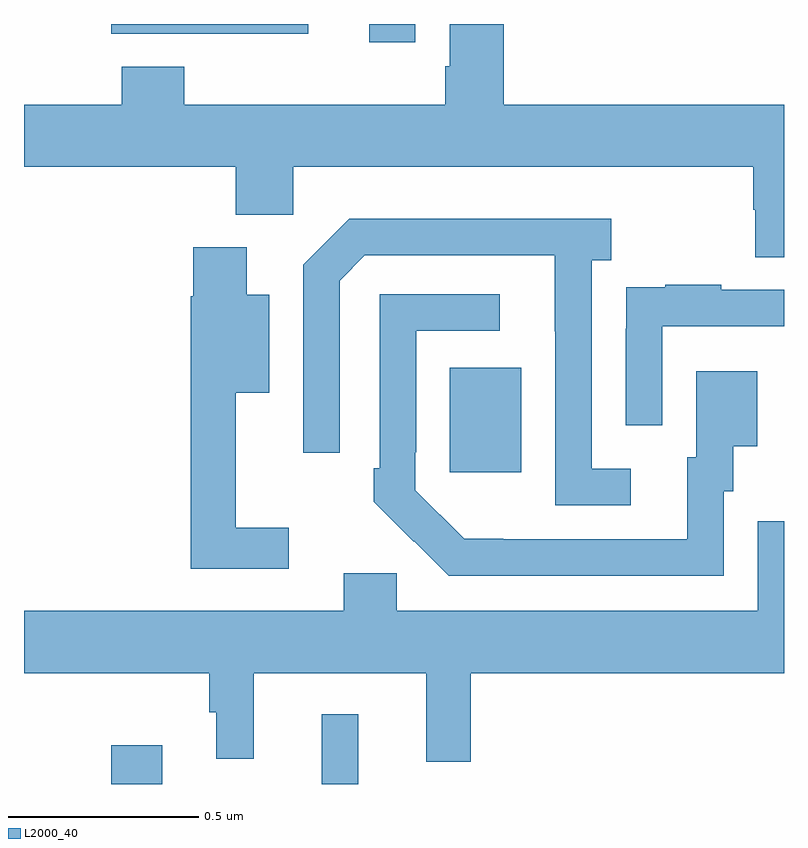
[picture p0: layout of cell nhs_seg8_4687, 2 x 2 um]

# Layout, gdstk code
import gdstk
lib = gdstk.Library(unit=1e-6, precision=1e-09)
def R(c, l, rs):  # rectangles x0, y0, x1, y1
    for r in rs: c.add(gdstk.rectangle(r[:2], r[2:], *l))
def P(c, l, *ps):  # polygons
    for p in ps: c.add(gdstk.Polygon(p, *l))
L2000_40 = (2000, 40)

nhs_seg8_4687 = lib.new_cell('nhs_seg8_4687')
R(nhs_seg8_4687, L2000_40, [(174.23,1090.9,174.364,1091.002), (174.783,1090.9,174.88,1091.083), (175.121,1091.721,175.309,1091.995), (174.908,1092.852,175.03,1092.9), (174.23,1092.875,174.748,1092.9)])
P(nhs_seg8_4687, L2000_40, [(176,1092.688),(175.262,1092.688),(175.262,1092.9),(175.121,1092.9),(175.121,1092.789),(175.109,1092.789),(175.109,1092.688),(174.422,1092.688),(174.422,1092.787),(174.257,1092.787),(174.257,1092.688),(174,1092.688),(174,1092.524),(174.557,1092.524),(174.557,1092.398),(174.708,1092.398),(174.708,1092.524),(175.919,1092.524),(175.919,1092.411),(175.924,1092.411),(175.924,1092.286),(176,1092.286)],
  [(175.597,1091.73),(175.494,1091.73),(175.494,1092.278),(175.546,1092.278),(175.546,1092.388),(174.856,1092.388),(174.735,1092.267),(174.735,1091.772),(174.831,1091.772),(174.831,1092.225),(174.897,1092.291),(175.397,1092.291),(175.397,1092.091),(175.398,1092.091),(175.398,1091.634),(175.597,1091.634)],
  [(174.697,1091.575),(174.557,1091.575),(174.557,1091.93),(174.646,1091.93),(174.646,1092.187),(174.586,1092.187),(174.586,1092.313),(174.446,1092.313),(174.446,1092.183),(174.439,1092.183),(174.439,1091.466),(174.697,1091.466)],
  [(175.68,1092.105),(176,1092.105),(176,1092.201),(175.835,1092.201),(175.835,1092.214),(175.687,1092.214),(175.687,1092.207),(175.585,1092.207),(175.585,1092.098),(175.584,1092.098),(175.584,1091.844),(175.68,1091.844)],
  [(175.842,1091.67),(175.867,1091.67),(175.867,1091.789),(175.93,1091.789),(175.93,1091.986),(175.769,1091.986),(175.769,1091.76),(175.745,1091.76),(175.745,1091.544),(175.261,1091.544),(175.261,1091.545),(175.158,1091.545),(175.029,1091.673),(175.029,1091.773),(175.032,1091.773),(175.032,1092.093),(175.252,1092.093),(175.252,1092.189),(174.936,1092.189),(174.936,1091.731),(174.921,1091.731),(174.921,1091.643),(175.026,1091.538),(175.027,1091.539),(175.118,1091.448),(175.842,1091.448)],
  [(175.175,1091.192),(176,1091.192),(176,1091.592),(175.931,1091.592),(175.931,1091.356),(174.981,1091.356),(174.981,1091.454),(174.842,1091.454),(174.842,1091.356),(174,1091.356),(174,1091.192),(174.487,1091.192),(174.487,1091.089),(174.506,1091.089),(174.506,1090.967),(174.605,1090.967),(174.605,1091.192),(175.058,1091.192),(175.058,1090.959),(175.175,1090.959)])

lib.write_gds('nhs_seg8_4687.gds')
